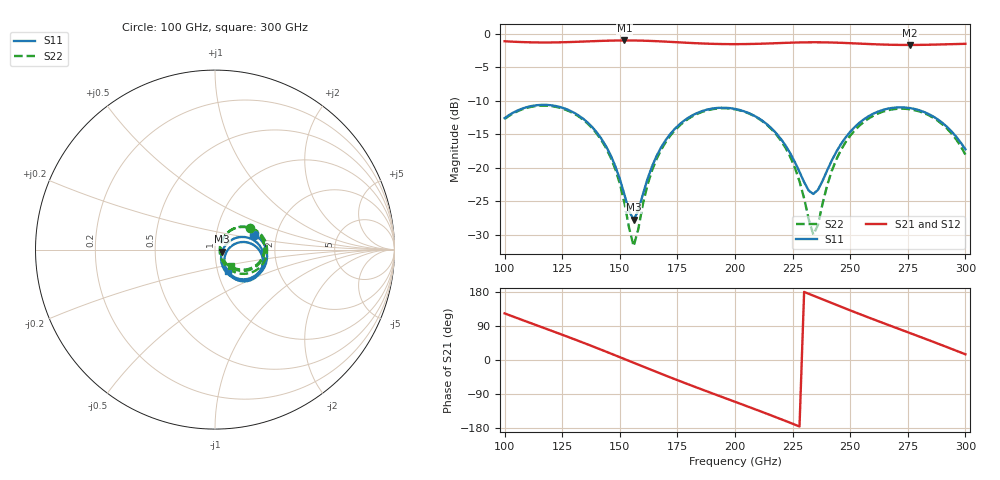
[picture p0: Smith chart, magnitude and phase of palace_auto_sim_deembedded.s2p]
! Created with skrf 1.11.0 (http://scikit-rf.org).
# GHz S DB R 50.0
!freq dBS11 angS11 dBS21 angS21 dBS12 angS12 dBS22 angS22
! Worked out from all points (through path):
!   101 points, 100 GHz to 300 GHz, reference 50 ohm
!   highest |S21| = -1.02 dB at 152 GHz (marker M1); lowest = -1.7 dB at 276 GHz (marker M2)
!   group delay of S21, straight-line fit = 6.53 ps
!   lowest |S11| = -27.7 dB at 156 GHz (marker M3), VSWR 1.09, Z = 54.1 - j1.31 ohm
!   |S11| at or under -10 dB: start of sweep to end of sweep
!   |S22| runs from -31.7 to -10.7 dB; largest |S21 - S12| = 9.8e-14
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100  -12.60 20.9  -1.14 123.1  -1.14 123.1  -12.72 31.8
108  -11.14 4.9  -1.26 104.9  -1.26 104.9  -11.25 16.2
118  -10.62 -15.3  -1.32 82.4  -1.32 82.4  -10.74 -3.6
134  -12.67 -47.1  -1.18 45.9  -1.18 45.9  -12.82 -35.4
144  -16.78 -63.3  -1.06 22.1  -1.06 22.1  -17.04 -53.2
152  -24.00 -57.6  -1.02 2.6  -1.02 2.6  -25.21 -53.7
156  -27.73 -17.2  -1.02 -7.2  -1.02 -7.2  -31.70 -2.7
162  -21.70 28.7  -1.07 -21.9  -1.07 -21.9  -22.58 54.9
168  -16.92 28.3  -1.16 -36.5  -1.16 -36.5  -17.28 51.1
184  -11.77 1.9  -1.44 -74.0  -1.44 -74.0  -11.90 22.3
200  -11.23 -27.6  -1.57 -110.3  -1.57 -110.3  -11.28 -8.4
212  -13.02 -47.9  -1.49 -137.6  -1.49 -137.6  -13.09 -31.0
222  -16.72 -59.4  -1.37 -161.0  -1.37 -161.0  -17.08 -47.5
228  -20.62 -55.3  -1.31 -175.5  -1.31 -175.5  -22.01 -50.5
234  -23.91 -20.7  -1.29 169.9  -1.29 169.9  -30.00 -3.6
242  -18.93 15.8  -1.32 150.3  -1.32 150.3  -20.47 54.6
248  -15.49 14.6  -1.40 135.8  -1.40 135.8  -16.19 48.7
258  -12.31 0.6  -1.55 112.2  -1.55 112.2  -12.65 30.8
268  -11.09 -16.8  -1.66 89.2  -1.66 89.2  -11.31 11.2
276  -11.10 -30.9  -1.69 71.0  -1.69 71.0  -11.29 -4.6
290  -13.30 -52.9  -1.61 38.7  -1.61 38.7  -13.52 -31.3
300  -17.26 -59.1  -1.52 15.0  -1.52 15.0  -18.04 -46.3
